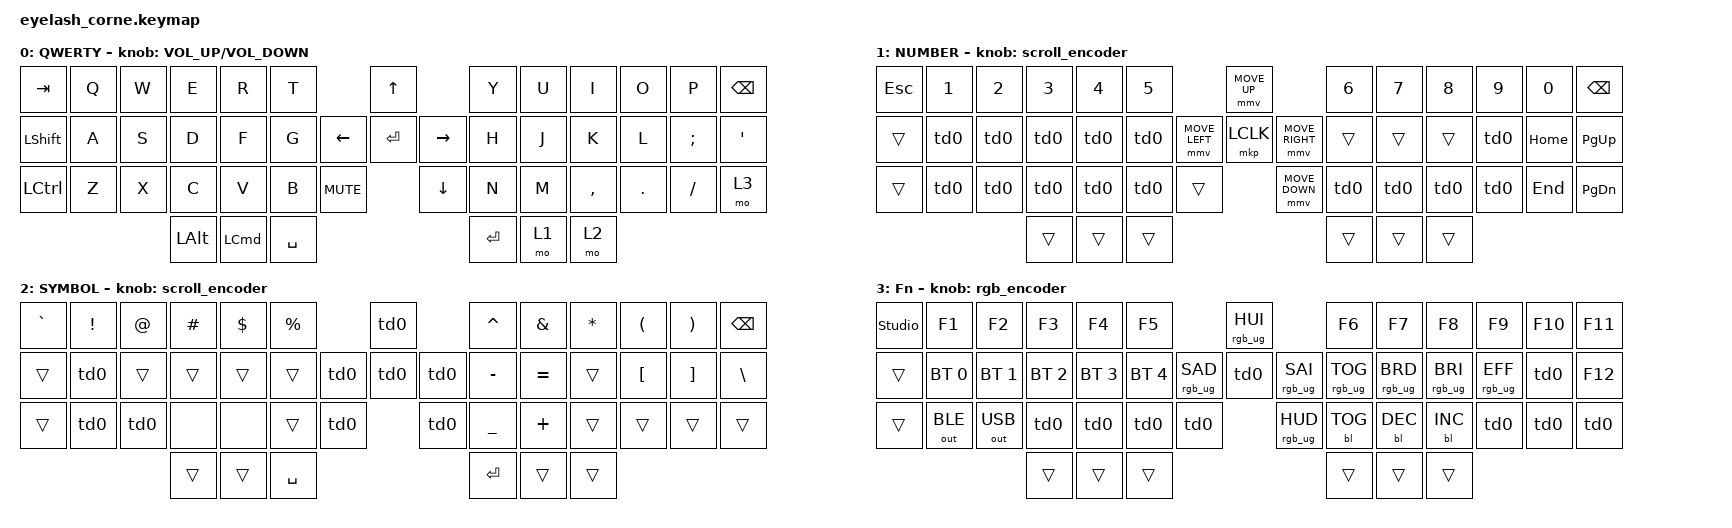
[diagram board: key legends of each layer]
#include <dt-bindings/zmk/mouse.h>
#include <input/processors.dtsi>
#include <behaviors.dtsi>
#include <dt-bindings/zmk/backlight.h>
#include <dt-bindings/zmk/bt.h>
#include <dt-bindings/zmk/keys.h>
#include <dt-bindings/zmk/outputs.h>
#include <dt-bindings/zmk/pointing.h>
#include <dt-bindings/zmk/pointing.h>
#include <dt-bindings/zmk/pointing.h>
#include <dt-bindings/zmk/rgb.h>

/*

   &mmv_input_listener {
       input-processors = <&zip_xy_scaler 2 1>;
   };

   &msc_input_listener {
       input-processors = <&zip_xy_scaler 2 1>;
   };

 */

#define ZMK_MOUSE_DEFAULT_MOVE_VAL 1200  // 600
#define ZMK_MOUSE_DEFAULT_SCRL_VAL 20    // 10

/ {
    behaviors {
        td0: td0 {
            compatible = "zmk,behavior-tap-dance";
            display-name = "Shift/Caps Lock Tap Dance";
            #binding-cells = <0>;
            bindings = <&kp LEFT_SHIFT>, <&kp CAPS>;
        };
    };

    rgb_encoder: rgb_encoder {
        compatible = "zmk,behavior-sensor-rotate";
        #sensor-binding-cells = <0>;
        bindings = <&rgb_ug RGB_BRI>, <&rgb_ug RGB_BRD>;
    };

    scroll_encoder: scroll_encoder {
        compatible = "zmk,behavior-sensor-rotate";
        #sensor-binding-cells = <0>;
        bindings = <&msc SCRL_DOWN>, <&msc SCRL_UP>;

        tap-ms = <30>;
    };

    keymap {
        compatible = "zmk,keymap";

        default_layer {
            display-name = "QWERTY";
            bindings = <
&kp TAB         &kp Q  &kp W  &kp E         &kp R             &kp T                              &kp UP                &kp Y      &kp U  &kp I      &kp O    &kp P     &kp BSPC
&kp LEFT_SHIFT  &kp A  &kp S  &kp D         &kp F             &kp G                    &kp LEFT  &kp ENTER  &kp RIGHT  &kp H      &kp J  &kp K      &kp L    &kp SEMI  &kp SQT
&kp LCTRL       &kp Z  &kp X  &kp C         &kp V             &kp B      &kp K_MUTE              &kp DOWN              &kp N      &kp M  &kp COMMA  &kp DOT  &kp FSLH  &mo 3
                              &kp LEFT_ALT  &kp LEFT_COMMAND  &kp SPACE                                                &kp ENTER  &mo 1  &mo 2
            >;

            sensor-bindings = <&inc_dec_kp C_VOLUME_UP C_VOLUME_DOWN>;
        };

        lower_layer {
            display-name = "NUMBER";
            bindings = <
&kp ESC  &kp N1  &kp N2  &kp N3  &kp N4  &kp N5                            &mmv MOVE_UP                     &kp N6  &kp N7  &kp N8  &kp N9  &kp N0    &kp BACKSPACE
&trans   &td0    &td0    &td0    &td0    &td0              &mmv MOVE_LEFT  &mkp LCLK       &mmv MOVE_RIGHT  &trans  &trans  &trans  &td0    &kp HOME  &kp PG_UP
&trans   &td0    &td0    &td0    &td0    &td0    &trans                    &mmv MOVE_DOWN                   &td0    &td0    &td0    &td0    &kp END   &kp PG_DN
                         &trans  &trans  &trans                                                             &trans  &trans  &trans
            >;

            sensor-bindings = <&scroll_encoder>;
        };

        raise_layer {
            display-name = "SYMBOL";
            bindings = <
&kp GRAVE  &kp EXCL  &kp AT  &kp HASH  &kp DLLR  &kp PRCNT                &td0        &kp CARET  &kp AMPS   &kp ASTRK  &kp LPAR          &kp RPAR           &kp BSPC
&trans     &td0      &trans  &trans    &trans    &trans             &td0  &td0  &td0  &kp MINUS  &kp EQUAL  &trans     &kp LEFT_BRACKET  &kp RIGHT_BRACKET  &kp BACKSLASH
&trans     &td0      &td0    &none     &none     &trans     &td0          &td0        &kp UNDER  &kp PLUS   &trans     &trans            &trans             &trans
                             &trans    &trans    &kp SPACE                            &kp RET    &trans     &trans
            >;

            sensor-bindings = <&scroll_encoder>;
        };

        layer_3 {
            display-name = "Fn";
            bindings = <
&studio_unlock  &kp F1        &kp F2        &kp F3        &kp F4        &kp F5                                 &rgb_ug RGB_HUI                   &kp F6           &kp F7           &kp F8           &kp F9           &kp F10  &kp F11
&trans          &bt BT_SEL 0  &bt BT_SEL 1  &bt BT_SEL 2  &bt BT_SEL 3  &bt BT_SEL 4          &rgb_ug RGB_SAD  &td0             &rgb_ug RGB_SAI  &rgb_ug RGB_TOG  &rgb_ug RGB_BRD  &rgb_ug RGB_BRI  &rgb_ug RGB_EFF  &td0     &kp F12
&trans          &out OUT_BLE  &out OUT_USB  &td0          &td0          &td0          &td0                     &rgb_ug RGB_HUD                   &bl BL_TOG       &bl BL_DEC       &bl BL_INC       &td0             &td0     &td0
                                            &trans        &trans        &trans                                                                   &trans           &trans           &trans
            >;

            sensor-bindings = <&rgb_encoder>;
        };
    };
};
